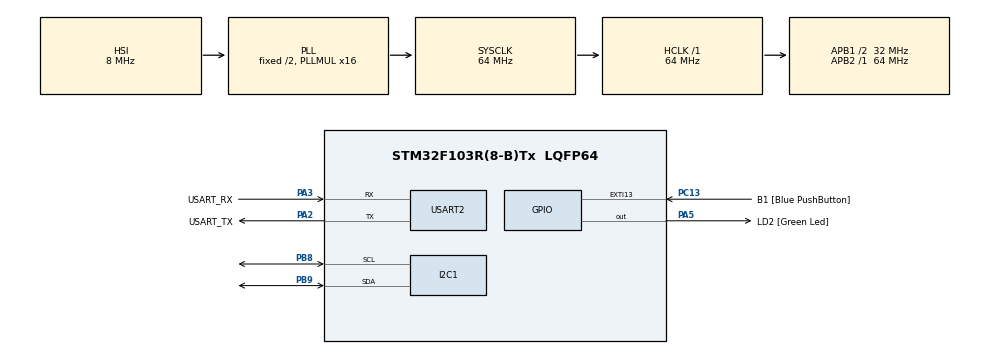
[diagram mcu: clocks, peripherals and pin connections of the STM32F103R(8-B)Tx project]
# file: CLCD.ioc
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Mcu.Family=STM32F1
Mcu.Name=STM32F103R(8-B)Tx
Mcu.Package=LQFP64
NVIC.EXTI15_10_IRQn=true\:0\:0\:false\:false\:true\:true\:true\:true
NVIC.PriorityGroup=NVIC_PRIORITYGROUP_4
PA13.GPIO_Label=TMS
PA13.Mode=Serial_Wire
PA13.Signal=SYS_JTMS-SWDIO
PA14.GPIO_Label=TCK
PA14.Mode=Serial_Wire
PA14.Signal=SYS_JTCK-SWCLK
PA2.GPIO_Label=USART_TX
PA2.GPIO_Mode=GPIO_MODE_AF_PP
PA2.GPIO_PuPd=GPIO_NOPULL
PA2.GPIO_Speed=GPIO_SPEED_FREQ_LOW
PA2.Mode=Asynchronous
PA2.Signal=USART2_TX
PA3.GPIO_Label=USART_RX
PA3.GPIO_Mode=GPIO_MODE_AF_PP
PA3.GPIO_PuPd=GPIO_NOPULL
PA3.GPIO_Speed=GPIO_SPEED_FREQ_LOW
PA3.Mode=Asynchronous
PA3.Signal=USART2_RX
PA5.GPIO_Label=LD2 [Green Led]
PA5.GPIO_ModeDefaultOutputPP=GPIO_MODE_OUTPUT_PP
PA5.GPIO_PuPd=GPIO_NOPULL
PA5.GPIO_Speed=GPIO_SPEED_FREQ_LOW
PA5.Signal=GPIO_Output
PB3.GPIO_Label=SWO
PB3.Signal=SYS_JTDO-TRACESWO
PB8.Mode=I2C
PB8.Signal=I2C1_SCL
PB9.Mode=I2C
PB9.Signal=I2C1_SDA
PC13-TAMPER-RTC.GPIO_Label=B1 [Blue PushButton]
PC13-TAMPER-RTC.GPIO_PuPd=GPIO_NOPULL
PC13-TAMPER-RTC.Signal=GPXTI13
PC14-OSC32_IN.Signal=RCC_OSC32_IN
PC15-OSC32_OUT.Signal=RCC_OSC32_OUT
PD0-OSC_IN.Signal=RCC_OSC_IN
PD1-OSC_OUT.Signal=RCC_OSC_OUT
ProjectManager.HeapSize=0x200
ProjectManager.StackSize=0x400
ProjectManager.TargetToolchain=STM32CubeIDE
RCC.AHBFreq_Value=64000000
RCC.APB1CLKDivider=RCC_HCLK_DIV2
RCC.APB1Freq_Value=32000000
RCC.APB1TimFreq_Value=64000000
RCC.APB2Freq_Value=64000000
RCC.APB2TimFreq_Value=64000000
RCC.HCLKFreq_Value=64000000
RCC.PLLMUL=RCC_PLL_MUL16
RCC.RTCClockSelection=RCC_RTCCLKSOURCE_LSE
RCC.SYSCLKFreq_VALUE=64000000
RCC.SYSCLKSource=RCC_SYSCLKSOURCE_PLLCLK
RCC.USBFreq_Value=64000000
USART2.VirtualMode=VM_ASYNC
VP_TIM2_VS_ClockSourceINT.Mode=Internal
board=NUCLEO-F103RB

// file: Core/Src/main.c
/* USER CODE BEGIN Header */
/**
  ******************************************************************************
  * @file           : main.c
  * @brief          : Main program body
  ******************************************************************************
  * @attention
  *
  * Copyright (c) 2025 STMicroelectronics.
  * All rights reserved.
  *
  * This software is licensed under terms that can be found in the LICENSE file
  * in the root directory of this software component.
  * If no LICENSE file comes with this software, it is provided AS-IS.
  *
  ******************************************************************************
  */
/* USER CODE END Header */
#include "main.h"

/* USER CODE BEGIN Includes */
#include <stdio.h>
#include <string.h>
/* USER CODE END Includes */

/* USER CODE BEGIN PTD */
typedef struct {
    uint8_t temperature;
    uint8_t humidity;
    uint8_t temp_decimal;
    uint8_t hum_decimal;
    uint8_t checksum;
} DHT11_Data;
/* USER CODE END PTD */

/* USER CODE BEGIN PD */
#define delay_ms HAL_Delay

//#define ADDRESS   0x3F << 1
#define ADDRESS   0x27 << 1
#define RS1_EN1   0x05
#define RS1_EN0   0x01
#define RS0_EN1   0x04
#define RS0_EN0   0x00
#define BackLight 0x08

#define DHT11_PORT GPIOA
#define DHT11_PIN GPIO_PIN_0
/* USER CODE END PD */

I2C_HandleTypeDef hi2c1;

TIM_HandleTypeDef htim2;

UART_HandleTypeDef huart2;

/* USER CODE BEGIN PV */
int delay = 0;
int value = 0;
DHT11_Data dht11_data;
char uart_buffer[100];  // uart_buffer 변수 선언 추가
/* USER CODE END PV */

void SystemClock_Config(void);
static void MX_GPIO_Init(void);
static void MX_USART2_UART_Init(void);
static void MX_I2C1_Init(void);
static void MX_TIM2_Init(void);
/* USER CODE BEGIN PFP */
void I2C_ScanAddresses(void);

void delay_us(int us);
void LCD_DATA(uint8_t data);
void LCD_CMD(uint8_t cmd);
void LCD_CMD_4bit(uint8_t cmd);
void LCD_INIT(void);
void LCD_XY(char x, char y);
void LCD_CLEAR(void);
void LCD_PUTS(char *str);

void DHT11_SetPinOutput(void);
void DHT11_SetPinInput(void);
void DHT11_SetPin(GPIO_PinState state);
GPIO_PinState DHT11_ReadPin(void);
void DHT11_DelayUs(uint32_t us);
uint8_t DHT11_Start(void);
uint8_t DHT11_ReadBit(void);
uint8_t DHT11_ReadByte(void);
uint8_t DHT11_ReadData(DHT11_Data *data);
/* USER CODE END PFP */

/* USER CODE BEGIN 0 */
#ifdef __GNUC__
/* With GCC, small printf (option LD Linker->Libraries->Small printf
   set to 'Yes') calls __io_putchar() */
#define PUTCHAR_PROTOTYPE int __io_putchar(int ch)
#else
#define PUTCHAR_PROTOTYPE int fputc(int ch, FILE *f)
#endif /* __GNUC__ */

/**
  * @brief  Retargets the C library printf function to the USART.
  * @param  None
  * @retval None
  */
PUTCHAR_PROTOTYPE
{
  /* Place your implementation of fputc here */
  /* e.g. write a character to the USART1 and Loop until the end of transmission */
  if (ch == '\n')
    HAL_UART_Transmit (&huart2, (uint8_t*) "\r", 1, 0xFFFF);
  HAL_UART_Transmit (&huart2, (uint8_t*) &ch, 1, 0xFFFF);

  return ch;
}

void I2C_ScanAddresses(void) {
    HAL_StatusTypeDef result;
    uint8_t i;

    printf("Scanning I2C addresses...\r\n");

    for (i = 1; i < 128; i++) {
        /*
         * HAL_I2C_IsDeviceReady: If a device at the specified address exists return HAL_OK.
         * Since I2C devices must have an 8-bit address, the 7-bit address is shifted left by 1 bit.
         */
        result = HAL_I2C_IsDeviceReady(&hi2c1, (uint16_t)(i << 1), 1, 10);
        if (result == HAL_OK) {
            printf("I2C device found at address 0x%02X\r\n", i);
        }
    }

    printf("Scan complete.\r\n");
}

void delay_us(int us){
	value = 3;
	delay = us * value;
	for(int i=0;i < delay;i++);
}

void LCD_DATA(uint8_t data) {
	uint8_t temp=(data & 0xF0)|RS1_EN1|BackLight;

	while(HAL_I2C_Master_Transmit(&hi2c1, ADDRESS, &temp, 1, 1000)!=HAL_OK);
	temp=(data & 0xF0)|RS1_EN0|BackLight;
	while(HAL_I2C_Master_Transmit(&hi2c1, ADDRESS, &temp, 1, 1000)!=HAL_OK);
	delay_us(4);

	temp=((data << 4) & 0xF0)|RS1_EN1|BackLight;
	while(HAL_I2C_Master_Transmit(&hi2c1, ADDRESS, &temp, 1, 1000)!=HAL_OK);
	temp = ((data << 4) & 0xF0)|RS1_EN0|BackLight;
	while(HAL_I2C_Master_Transmit(&hi2c1, ADDRESS, &temp, 1, 1000)!=HAL_OK);
	delay_us(50);
}

void LCD_CMD(uint8_t cmd) {
	uint8_t temp=(cmd & 0xF0)|RS0_EN1|BackLight;
	while(HAL_I2C_Master_Transmit(&hi2c1, ADDRESS, &temp, 1, 1000)!=HAL_OK);
	temp=(cmd & 0xF0)|RS0_EN0|BackLight;
	while(HAL_I2C_Master_Transmit(&hi2c1, ADDRESS, &temp, 1, 1000)!=HAL_OK);
	delay_us(4);

	temp=((cmd << 4) & 0xF0)|RS0_EN1|BackLight;
	while(HAL_I2C_Master_Transmit(&hi2c1, ADDRESS, &temp, 1, 1000)!=HAL_OK);
	temp=((cmd << 4) & 0xF0)|RS0_EN0|BackLight;
	while(HAL_I2C_Master_Transmit(&hi2c1, ADDRESS, &temp, 1, 1000)!=HAL_OK);
	delay_us(50);
}

void LCD_CMD_4bit(uint8_t cmd) {
	uint8_t temp=((cmd << 4) & 0xF0)|RS0_EN1|BackLight;
	while(HAL_I2C_Master_Transmit(&hi2c1, ADDRESS, &temp, 1, 1000)!=HAL_OK);
	temp=((cmd << 4) & 0xF0)|RS0_EN0|BackLight;
	while(HAL_I2C_Master_Transmit(&hi2c1, ADDRESS, &temp, 1, 1000)!=HAL_OK);
	delay_us(50);
}

void LCD_INIT(void) {

	delay_ms(100);

	LCD_CMD_4bit(0x03); delay_ms(5);
	LCD_CMD_4bit(0x03); delay_us(100);
	LCD_CMD_4bit(0x03); delay_us(100);
	LCD_CMD_4bit(0x02); delay_us(100);
	LCD_CMD(0x28);  // 4 bits, 2 line, 5x8 font
	LCD_CMD(0x08);  // display off, cursor off, blink off
	LCD_CMD(0x01);  // clear display
	delay_ms(3);
	LCD_CMD(0x06);  // cursor movint direction
	LCD_CMD(0x0C);  // display on, cursor off, blink off
}

void LCD_XY(char x, char y) {
	if      (y == 0) LCD_CMD(0x80 + x);
	else if (y == 1) LCD_CMD(0xC0 + x);
	else if (y == 2) LCD_CMD(0x94 + x);
	else if (y == 3) LCD_CMD(0xD4 + x);
}

void LCD_CLEAR(void) {
	LCD_CMD(0x01);
	delay_ms(2);
}

void LCD_PUTS(char *str) {
	while (*str) LCD_DATA(*str++);
}
void DHT11_SetPinOutput(void) {
    GPIO_InitTypeDef GPIO_InitStruct = {0};
    GPIO_InitStruct.Pin = DHT11_PIN;
    GPIO_InitStruct.Mode = GPIO_MODE_OUTPUT_PP;
    GPIO_InitStruct.Pull = GPIO_NOPULL;
    GPIO_InitStruct.Speed = GPIO_SPEED_FREQ_HIGH;
    HAL_GPIO_Init(DHT11_PORT, &GPIO_InitStruct);
}

void DHT11_SetPinInput(void) {
    GPIO_InitTypeDef GPIO_InitStruct = {0};
    GPIO_InitStruct.Pin = DHT11_PIN;
    GPIO_InitStruct.Mode = GPIO_MODE_INPUT;
    GPIO_InitStruct.Pull = GPIO_PULLUP;
    HAL_GPIO_Init(DHT11_PORT, &GPIO_InitStruct);
}

void DHT11_SetPin(GPIO_PinState state) {
    HAL_GPIO_WritePin(DHT11_PORT, DHT11_PIN, state);
}

GPIO_PinState DHT11_ReadPin(void) {
    return HAL_GPIO_ReadPin(DHT11_PORT, DHT11_PIN);
}

void DHT11_DelayUs(uint32_t us) {
    __HAL_TIM_SET_COUNTER(&htim2, 0);
    while (__HAL_TIM_GET_COUNTER(&htim2) < us);
}

uint8_t DHT11_Start(void) {
    uint8_t response = 0;

    // 출력 모드로 설정
    DHT11_SetPinOutput();

    // 시작 신호 전송 (18ms LOW)
    DHT11_SetPin(GPIO_PIN_RESET);
    HAL_Delay(20);  // 18ms -> 20ms로 변경 (더 안정적)

    // HIGH로 변경 후 20-40us 대기
    DHT11_SetPin(GPIO_PIN_SET);
    DHT11_DelayUs(30);

    // 입력 모드로 변경
    DHT11_SetPinInput();

    // DHT11 응답 확인 (80us LOW + 80us HIGH)
    DHT11_DelayUs(40);

    if (!(DHT11_ReadPin())) {
        DHT11_DelayUs(80);
        if (DHT11_ReadPin()) {
            response = 1;
        } else {
            response = 0;
        }
    }

    // HIGH가 끝날 때까지 대기
    while (DHT11_ReadPin());

    return response;
}

uint8_t DHT11_ReadBit(void) {
    // LOW 신호가 끝날 때까지 대기 (50us)
    while (!(DHT11_ReadPin()));

    // HIGH 신호 시작 후 30us 대기
    DHT11_DelayUs(30);

    // 여전히 HIGH면 1, LOW면 0
    if (DHT11_ReadPin()) {
        // HIGH가 끝날 때까지 대기
        while (DHT11_ReadPin());
        return 1;
    } else {
        return 0;
    }
}

uint8_t DHT11_ReadByte(void) {
    uint8_t byte = 0;
    for (int i = 0; i < 8; i++) {
        byte = (byte << 1) | DHT11_ReadBit();
    }
    return byte;
}

uint8_t DHT11_ReadData(DHT11_Data *data) {
    if (!DHT11_Start()) {
        return 0; // 시작 신호 실패
    }

    // 5바이트 데이터 읽기
    data->humidity = DHT11_ReadByte();
    data->hum_decimal = DHT11_ReadByte();
    data->temperature = DHT11_ReadByte();
    data->temp_decimal = DHT11_ReadByte();
    data->checksum = DHT11_ReadByte();

    // 체크섬 확인
    uint8_t calculated_checksum = data->humidity + data->hum_decimal +
                                 data->temperature + data->temp_decimal;

    if (calculated_checksum == data->checksum) {
        return 1; // 성공
    } else {
        return 0; // 체크섬 오류
    }
}
/* USER CODE END 0 */

int main(void)
{

  /* MCU Configuration--------------------------------------------------------*/

  /* Reset of all peripherals, Initializes the Flash interface and the Systick. */
  HAL_Init();

  /* Configure the system clock */
  SystemClock_Config();

  /* Initialize all configured peripherals */
  MX_GPIO_Init();
  MX_USART2_UART_Init();
  MX_I2C1_Init();
  MX_TIM2_Init();
  /* USER CODE BEGIN 2 */
  I2C_ScanAddresses();

  LCD_INIT();
  LCD_XY(0, 0) ; LCD_PUTS((char *)"LCD Display test");
  LCD_XY(0, 1) ; LCD_PUTS((char *)"Hello World.....");

  HAL_TIM_Base_Start(&htim2);

   // UART 초기화 메시지
   sprintf(uart_buffer, "DHT11 Temperature & Humidity Sensor Test\r\n");
   HAL_UART_Transmit(&huart2, (uint8_t*)uart_buffer, strlen(uart_buffer), HAL_MAX_DELAY);
  /* USER CODE END 2 */

  /* Infinite loop */
  while (1)
  {
	  if (DHT11_ReadData(&dht11_data)) {
	  	      // 데이터 읽기 성공
	  	      sprintf(uart_buffer, "Temperature: %d°C, Humidity: %d%%\r\n",
	  	              dht11_data.temperature, dht11_data.humidity);
	  	      HAL_UART_Transmit(&huart2, (uint8_t*)uart_buffer, strlen(uart_buffer), HAL_MAX_DELAY);
	  	    } else {
	  	      // 데이터 읽기 실패
	  	      sprintf(uart_buffer, "DHT11 Read Error!\r\n");
	  	      HAL_UART_Transmit(&huart2, (uint8_t*)uart_buffer, strlen(uart_buffer), HAL_MAX_DELAY);
	  	    }

	  	    // 2초 대기 (DHT11은 최소 2초 간격으로 읽어야 함)
	  	    HAL_Delay(2000);
	  	  LCD_XY(0, 0) ; LCD_PUTS((char *)"LCD Display test");

	  	  LCD_XY(0, 1) ; LCD_PUTS((char *)"Hello World.....");

  }
}

void SystemClock_Config(void)
{
  RCC_OscInitTypeDef RCC_OscInitStruct = {0};
  RCC_ClkInitTypeDef RCC_ClkInitStruct = {0};

  /** Initializes the RCC Oscillators according to the specified parameters
  * in the RCC_OscInitTypeDef structure.
  */
  RCC_OscInitStruct.OscillatorType = RCC_OSCILLATORTYPE_HSI;
  RCC_OscInitStruct.HSIState = RCC_HSI_ON;
  RCC_OscInitStruct.HSICalibrationValue = RCC_HSICALIBRATION_DEFAULT;
  RCC_OscInitStruct.PLL.PLLState = RCC_PLL_ON;
  RCC_OscInitStruct.PLL.PLLSource = RCC_PLLSOURCE_HSI_DIV2;
  RCC_OscInitStruct.PLL.PLLMUL = RCC_PLL_MUL16;
  if (HAL_RCC_OscConfig(&RCC_OscInitStruct) != HAL_OK)
  {
    Error_Handler();
  }

  /** Initializes the CPU, AHB and APB buses clocks
  */
  RCC_ClkInitStruct.ClockType = RCC_CLOCKTYPE_HCLK|RCC_CLOCKTYPE_SYSCLK
                              |RCC_CLOCKTYPE_PCLK1|RCC_CLOCKTYPE_PCLK2;
  RCC_ClkInitStruct.SYSCLKSource = RCC_SYSCLKSOURCE_PLLCLK;
  RCC_ClkInitStruct.AHBCLKDivider = RCC_SYSCLK_DIV1;
  RCC_ClkInitStruct.APB1CLKDivider = RCC_HCLK_DIV2;
  RCC_ClkInitStruct.APB2CLKDivider = RCC_HCLK_DIV1;

  if (HAL_RCC_ClockConfig(&RCC_ClkInitStruct, FLASH_LATENCY_2) != HAL_OK)
  {
    Error_Handler();
  }
}

static void MX_I2C1_Init(void)
{

  hi2c1.Instance = I2C1;
  hi2c1.Init.ClockSpeed = 100000;
  hi2c1.Init.DutyCycle = I2C_DUTYCYCLE_2;
  hi2c1.Init.OwnAddress1 = 0;
  hi2c1.Init.AddressingMode = I2C_ADDRESSINGMODE_7BIT;
  hi2c1.Init.DualAddressMode = I2C_DUALADDRESS_DISABLE;
  hi2c1.Init.OwnAddress2 = 0;
  hi2c1.Init.GeneralCallMode = I2C_GENERALCALL_DISABLE;
  hi2c1.Init.NoStretchMode = I2C_NOSTRETCH_DISABLE;
  if (HAL_I2C_Init(&hi2c1) != HAL_OK)
  {
    Error_Handler();
  }

}

static void MX_TIM2_Init(void)
{

  TIM_ClockConfigTypeDef sClockSourceConfig = {0};
  TIM_MasterConfigTypeDef sMasterConfig = {0};

  htim2.Instance = TIM2;
  htim2.Init.Prescaler = 0;
  htim2.Init.CounterMode = TIM_COUNTERMODE_UP;
  htim2.Init.Period = 65535;
  htim2.Init.ClockDivision = TIM_CLOCKDIVISION_DIV1;
  htim2.Init.AutoReloadPreload = TIM_AUTORELOAD_PRELOAD_DISABLE;
  if (HAL_TIM_Base_Init(&htim2) != HAL_OK)
  {
    Error_Handler();
  }
  sClockSourceConfig.ClockSource = TIM_CLOCKSOURCE_INTERNAL;
  if (HAL_TIM_ConfigClockSource(&htim2, &sClockSourceConfig) != HAL_OK)
  {
    Error_Handler();
  }
  sMasterConfig.MasterOutputTrigger = TIM_TRGO_RESET;
  sMasterConfig.MasterSlaveMode = TIM_MASTERSLAVEMODE_DISABLE;
  if (HAL_TIMEx_MasterConfigSynchronization(&htim2, &sMasterConfig) != HAL_OK)
  {
    Error_Handler();
  }

}

static void MX_USART2_UART_Init(void)
{

  huart2.Instance = USART2;
  huart2.Init.BaudRate = 115200;
  huart2.Init.WordLength = UART_WORDLENGTH_8B;
  huart2.Init.StopBits = UART_STOPBITS_1;
  huart2.Init.Parity = UART_PARITY_NONE;
  huart2.Init.Mode = UART_MODE_TX_RX;
  huart2.Init.HwFlowCtl = UART_HWCONTROL_NONE;
  huart2.Init.OverSampling = UART_OVERSAMPLING_16;
  if (HAL_UART_Init(&huart2) != HAL_OK)
  {
    Error_Handler();
  }

}

static void MX_GPIO_Init(void)
{
  GPIO_InitTypeDef GPIO_InitStruct = {0};

  /* GPIO Ports Clock Enable */
  __HAL_RCC_GPIOC_CLK_ENABLE();
  __HAL_RCC_GPIOD_CLK_ENABLE();
  __HAL_RCC_GPIOA_CLK_ENABLE();
  __HAL_RCC_GPIOB_CLK_ENABLE();

  /*Configure GPIO pin Output Level */
  HAL_GPIO_WritePin(LD2_GPIO_Port, LD2_Pin, GPIO_PIN_RESET);

  /*Configure GPIO pin : B1_Pin */
  GPIO_InitStruct.Pin = B1_Pin;
  GPIO_InitStruct.Mode = GPIO_MODE_IT_RISING;
  GPIO_InitStruct.Pull = GPIO_NOPULL;
  HAL_GPIO_Init(B1_GPIO_Port, &GPIO_InitStruct);

  /*Configure GPIO pin : LD2_Pin */
  GPIO_InitStruct.Pin = LD2_Pin;
  GPIO_InitStruct.Mode = GPIO_MODE_OUTPUT_PP;
  GPIO_InitStruct.Pull = GPIO_NOPULL;
  GPIO_InitStruct.Speed = GPIO_SPEED_FREQ_LOW;
  HAL_GPIO_Init(LD2_GPIO_Port, &GPIO_InitStruct);

  /* EXTI interrupt init*/
  HAL_NVIC_SetPriority(EXTI15_10_IRQn, 0, 0);
  HAL_NVIC_EnableIRQ(EXTI15_10_IRQn);

}

void Error_Handler(void)
{
  __disable_irq();
  while (1)
  {
  }
}
